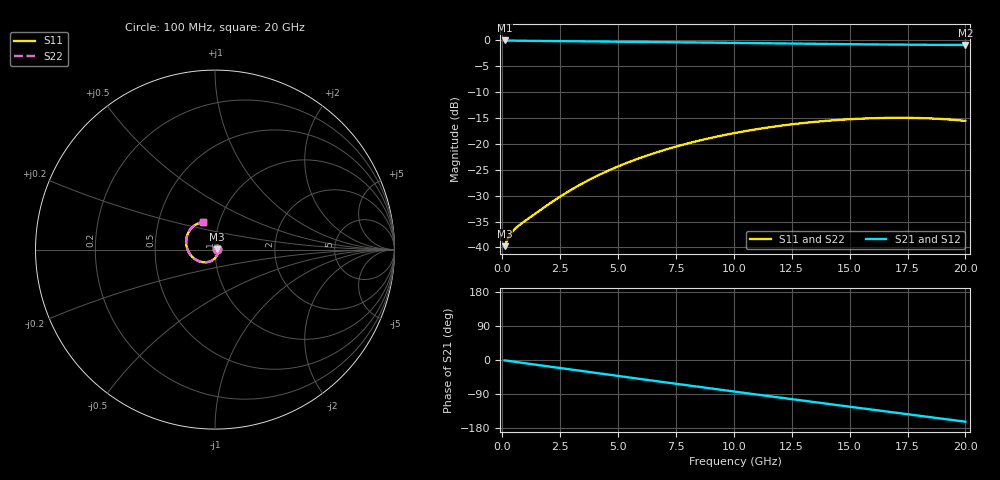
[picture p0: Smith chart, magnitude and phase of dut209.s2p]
! Touchstone file exported from HFSS 2026.1.0
!  File:  C:/ffzhzh/LocalFiles/Ansys_Project_Files/temp_train_TSV_RDL_209_1783061561_18316.aedt
!  Generated:  03:00:14 PM Jul  3, 2026
!  Design:  TSV_RDL
!  Project:  temp_train_TSV_RDL_209_1783061561_18316
! Variables:
!  h_bsmrdl = 4.32um
!  h_ox = 20um
!  h_rdl = 5um
!  h_sub = 62.86um
!  h_tmrdl = 3.62um
!  h_tsv = 62.86um
!  h_via = 3um
!  l_bsmrdl = 473.16um
!  l_sub = 2600.39um
!  l_tmrdl = 161.89um
!  m_sub = 200um
!  pitch = 30.37um
!  r_tsv = 8.01um
!  s_tmrdl = 10um
!  w_bsmrdl = 28.45um
!  w_sub = 500um
!  w_tmrdl = 16um
!  x_tsv_center1 = 169.89um
!  x_tsv_center2 = 671.5um
!  x_tsv_center3 = 849.39um
!  x_tsv_center4 = 1351um
!  x_tsv_center5 = 1528.89um
!  x_tsv_center6 = 2030.5um
# GHz S MA R 50.000000
! Terminal data exported
! Port[1] = TM_RDL1_1_T1
! Port[2] = TM_RDL5_1_T1
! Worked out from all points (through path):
!   200 points, 100 MHz to 20 GHz, reference 50 ohm
!   highest |S21| = -0.09 dB at 100 MHz (marker M1); lowest = -1.0 dB at 20 GHz (marker M2)
!   group delay of S21, straight-line fit = 22.5 ps
!   lowest |S11| = -39.8 dB at 100 MHz (marker M3), VSWR 1.02, Z = 51 + j0.102 ohm
!   |S11| at or under -10 dB: start of sweep to end of sweep
!   |S22| runs from -39.8 to -15.0 dB; largest |S21 - S12| = 5e-14
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0.1  0.01028 5.6  0.9898 -1.0  0.9898 -1.0  0.01028 5.6
! Gamma 0 0 0 0
! Port Impedance 50 0 50 0
0.3  0.01292 2.6  0.9871 -2.8  0.9871 -2.8  0.01292 2.6
0.4  0.01396 -1.9  0.986 -3.6  0.986 -3.6  0.01396 -1.9
0.7  0.01619 -15.8  0.9838 -6.2  0.9838 -6.2  0.01619 -15.8
2.1  0.02701 -57.9  0.9787 -18.0  0.9787 -18.0  0.027 -57.9
2.8  0.03407 -71.4  0.9759 -23.9  0.9759 -23.9  0.03406 -71.4
3.5  0.04189 -82.6  0.9727 -29.7  0.9727 -29.7  0.04188 -82.6
4.3  0.05153 -93.8  0.9688 -36.4  0.9688 -36.4  0.05152 -93.8
5.2  0.06302 -105.1  0.9642 -43.9  0.9642 -43.9  0.06301 -105.2
6.8  0.08437 -123.6  0.9556 -57.1  0.9556 -57.1  0.08435 -123.6
7.7  0.0965 -133.3  0.9505 -64.4  0.9505 -64.4  0.09648 -133.4
8.5  0.1072 -141.7  0.946 -71.0  0.946 -71.0  0.1071 -141.7
9.3  0.1175 -149.9  0.9414 -77.5  0.9414 -77.5  0.1175 -149.9
10.1  0.1275 -157.8  0.9367 -84.0  0.9367 -84.0  0.1275 -157.9
10.9  0.137 -165.6  0.9321 -90.4  0.9321 -90.4  0.137 -165.7
11.7  0.1458 -173.3  0.9275 -96.9  0.9275 -96.9  0.1458 -173.3
12.5  0.1538 179.2  0.9231 -103.3  0.9231 -103.3  0.1538 179.2
13.4  0.1617 170.9  0.9182 -110.5  0.9182 -110.5  0.1616 170.9
15  0.1722 156.6  0.9104 -123.3  0.9104 -123.3  0.1722 156.5
16.7  0.1775 141.8  0.9035 -136.7  0.9035 -136.7  0.1775 141.8
18.4  0.1756 127.4  0.8985 -150.2  0.8985 -150.2  0.1756 127.4
20  0.1661 114.2  0.8957 -162.9  0.8957 -162.9  0.1661 114.1
